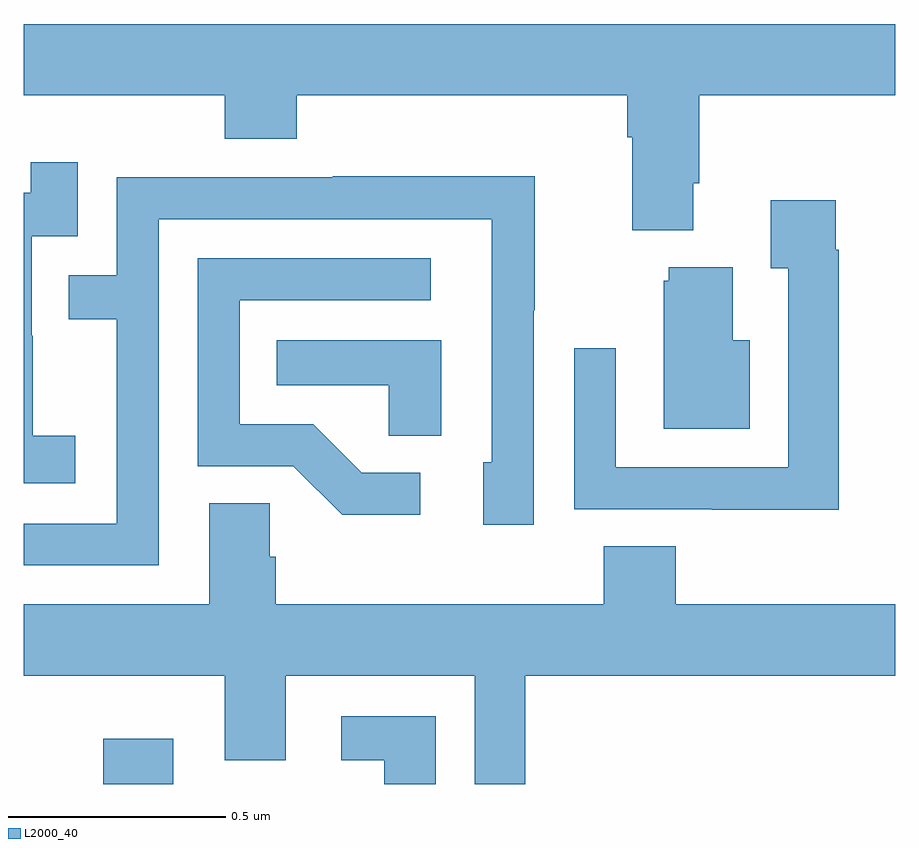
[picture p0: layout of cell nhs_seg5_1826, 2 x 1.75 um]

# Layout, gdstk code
import gdstk
lib = gdstk.Library(unit=1e-6, precision=1e-09)
def R(c, l, rs):  # rectangles x0, y0, x1, y1
    for r in rs: c.add(gdstk.rectangle(r[:2], r[2:], *l))
def P(c, l, *ps):  # polygons
    for p in ps: c.add(gdstk.Polygon(p, *l))
L2000_40 = (2000, 40)

nhs_seg5_1826 = lib.new_cell('nhs_seg5_1826')
R(nhs_seg5_1826, L2000_40, [(135.182,901.799,135.343,901.903)])
P(nhs_seg5_1826, L2000_40, [(136.537,903.178),(136.55,903.178),(136.55,903.38),(137,903.38),(137,903.544),(135,903.544),(135,903.38),(135.461,903.38),(135.461,903.281),(135.626,903.281),(135.626,903.38),(136.385,903.38),(136.385,903.284),(136.397,903.284),(136.397,903.071),(136.537,903.071)],
  [(135.118,902.599),(135.02,902.599),(135.02,902.828),(135.018,902.828),(135.018,903.057),(135.123,903.057),(135.123,903.226),(135.015,903.226),(135.015,903.156),(135,903.156),(135,902.489),(135.118,902.489)],
  [(135.309,903.096),(136.074,903.096),(136.074,902.538),(136.055,902.538),(136.055,902.394),(136.17,902.394),(136.17,902.887),(136.173,902.887),(136.173,903.194),(135.709,903.194),(135.709,903.192),(135.213,903.192),(135.213,902.967),(135.103,902.967),(135.103,902.866),(135.213,902.866),(135.213,902.397),(135,902.397),(135,902.301),(135.309,902.301)],
  [(136.871,903.026),(136.864,903.026),(136.864,903.139),(136.715,903.139),(136.715,902.983),(136.755,902.983),(136.755,902.526),(136.359,902.526),(136.359,902.8),(136.263,902.8),(136.263,902.43),(136.579,902.43),(136.579,902.429),(136.871,902.429)],
  [(135.91,902.514),(135.775,902.514),(135.664,902.625),(135.495,902.625),(135.495,902.91),(135.934,902.91),(135.934,903.006),(135.399,903.006),(135.399,902.529),(135.618,902.529),(135.731,902.417),(135.91,902.417)],
  [(136.666,902.818),(136.627,902.818),(136.627,902.986),(136.481,902.986),(136.481,902.955),(136.469,902.955),(136.469,902.615),(136.666,902.615)],
  [(135.958,902.818),(135.58,902.818),(135.58,902.714),(135.837,902.714),(135.837,902.599),(135.958,902.599)],
  [(136.151,902.048),(137,902.048),(137,902.212),(136.496,902.212),(136.496,902.345),(136.331,902.345),(136.331,902.212),(135.578,902.212),(135.578,902.321),(135.564,902.321),(135.564,902.444),(135.425,902.444),(135.425,902.212),(135,902.212),(135,902.048),(135.461,902.048),(135.461,901.854),(135.601,901.854),(135.601,902.048),(136.035,902.048),(136.035,901.799),(136.151,901.799)],
  [(135.946,901.954),(135.729,901.954),(135.729,901.853),(135.827,901.853),(135.827,901.799),(135.946,901.799)])

lib.write_gds('nhs_seg5_1826.gds')
